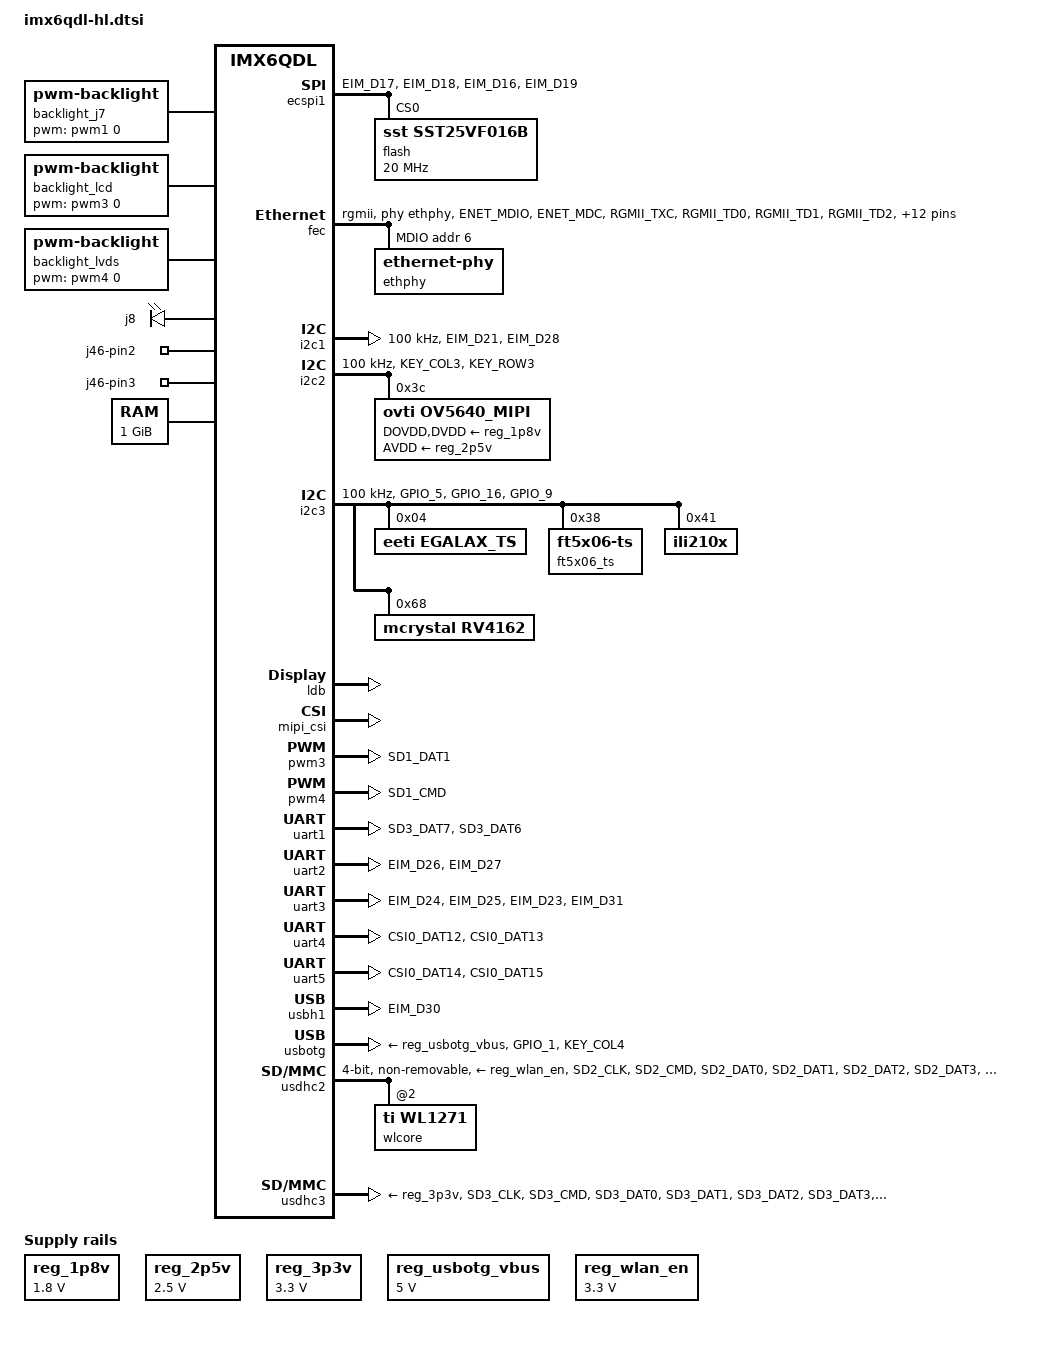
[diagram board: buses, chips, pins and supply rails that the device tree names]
/*
 * Copyright 2014 Boundary Devices
 * Copyright 2012 Freescale Semiconductor, Inc.
 * Copyright 2011 Linaro Ltd.
 *
 * The code contained herein is licensed under the GNU General Public
 * License. You may obtain a copy of the GNU General Public License
 * Version 2 or later at the following locations:
 *
 * http://www.opensource.org/licenses/gpl-license.html
 * http://www.gnu.org/copyleft/gpl.html
 */
#include <dt-bindings/gpio/gpio.h>
#include <dt-bindings/input/input.h>

&iomuxc {
	pinctrl-names = "default";
	pinctrl-0 = <&pinctrl_hog>;

	iomuxc_imx6q_hl: iomuxc-imx6q-hlgrp {
		status = "okay";
	};
};

&iomuxc_imx6q_hl {
	pinctrl_bt_rfkill: bt-rfkillgrp {
		fsl,pins = <
#define GP_BT_RFKILL_RESET	<&gpio6 16 GPIO_ACTIVE_LOW>
			MX6QDL_PAD_NANDF_CS3__GPIO6_IO16	0x030b0
		>;
	};

	pinctrl_ecspi1: ecspi1grp {
		fsl,pins = <
			MX6QDL_PAD_EIM_D17__ECSPI1_MISO		0x100b1
			MX6QDL_PAD_EIM_D18__ECSPI1_MOSI		0x100b1
			MX6QDL_PAD_EIM_D16__ECSPI1_SCLK		0x000b1
#define GP_ECSPI1_NOR_CS	<&gpio3 19 GPIO_ACTIVE_LOW>
			MX6QDL_PAD_EIM_D19__GPIO3_IO19		0x0b0b1
		>;
	};

	pinctrl_enet: enetgrp {
		fsl,pins = <
			MX6QDL_PAD_ENET_MDIO__ENET_MDIO		0x1b0b0
			MX6QDL_PAD_ENET_MDC__ENET_MDC		0x1b0b0
			MX6QDL_PAD_RGMII_TXC__RGMII_TXC		0x100b0
			MX6QDL_PAD_RGMII_TD0__RGMII_TD0		0x100b0
			MX6QDL_PAD_RGMII_TD1__RGMII_TD1		0x100b0
			MX6QDL_PAD_RGMII_TD2__RGMII_TD2		0x100b0
			MX6QDL_PAD_RGMII_TD3__RGMII_TD3		0x100b0
			MX6QDL_PAD_RGMII_TX_CTL__RGMII_TX_CTL	0x100b0
			MX6QDL_PAD_ENET_REF_CLK__ENET_TX_CLK	0x100b0
			MX6QDL_PAD_RGMII_RXC__RGMII_RXC		0x1b0b0
			MX6QDL_PAD_RGMII_RD0__RGMII_RD0		0x130b0
			MX6QDL_PAD_RGMII_RD1__RGMII_RD1		0x1b0b0
			MX6QDL_PAD_RGMII_RD2__RGMII_RD2		0x130b0
			MX6QDL_PAD_RGMII_RD3__RGMII_RD3		0x1b0b0
			MX6QDL_PAD_RGMII_RX_CTL__RGMII_RX_CTL	0x130b0
#define GP_ENET_PHY_RESET		<&gpio1 27 GPIO_ACTIVE_LOW>
			MX6QDL_PAD_ENET_RXD0__GPIO1_IO27	0x030b0
#define GPIRQ_ENET_PHY			<&gpio1 28 IRQ_TYPE_LEVEL_LOW>
			MX6QDL_PAD_ENET_TX_EN__GPIO1_IO28	0x1b0b0
#define GPIRQ_ENET			<&gpio1 6 IRQ_TYPE_LEVEL_HIGH>
			MX6QDL_PAD_GPIO_6__ENET_IRQ		0x000b1
		>;
	};

	pinctrl_hog: hoggrp {
		fsl,pins = <
				/* GPIO - J4 outputs are inverted */
#define GP_J4_PIN1			<&gpio3 4 GPIO_ACTIVE_HIGH>
			MX6QDL_PAD_EIM_DA4__GPIO3_IO04		0x130b0
#define GP_J4_PIN2			<&gpio3 5 GPIO_ACTIVE_HIGH>
			MX6QDL_PAD_EIM_DA5__GPIO3_IO05		0x130b0
#define GP_J4_PIN3			<&gpio3 6 GPIO_ACTIVE_HIGH>
			MX6QDL_PAD_EIM_DA6__GPIO3_IO06		0x130b0
#define GP_J4_PIN4			<&gpio3 7 GPIO_ACTIVE_HIGH>
			MX6QDL_PAD_EIM_DA7__GPIO3_IO07		0x130b0
#define GP_J4_PIN5			<&gpio3 8 GPIO_ACTIVE_HIGH>
			MX6QDL_PAD_EIM_DA8__GPIO3_IO08		0x130b0
#define GP_J4_PIN6			<&gpio3 9 GPIO_ACTIVE_HIGH>
			MX6QDL_PAD_EIM_DA9__GPIO3_IO09		0x130b0

#define GP_J2_PIN1			<&gpio3 10 GPIO_ACTIVE_HIGH>
			MX6QDL_PAD_EIM_DA10__GPIO3_IO10		0x130b0
#define GP_J2_PIN2			<&gpio3 11 GPIO_ACTIVE_HIGH>
			MX6QDL_PAD_EIM_DA11__GPIO3_IO11		0x130b0
#define GP_J2_PIN3			<&gpio3 12 GPIO_ACTIVE_HIGH>
			MX6QDL_PAD_EIM_DA12__GPIO3_IO12		0x130b0
#define GP_J2_PIN4			<&gpio3 13 GPIO_ACTIVE_HIGH>
			MX6QDL_PAD_EIM_DA13__GPIO3_IO13		0x130b0
#define GP_J2_PIN5			<&gpio3 14 GPIO_ACTIVE_HIGH>
			MX6QDL_PAD_EIM_DA14__GPIO3_IO14		0x130b0
#define GP_J2_PIN6			<&gpio3 15 GPIO_ACTIVE_HIGH>
			MX6QDL_PAD_EIM_DA15__GPIO3_IO15		0x130b0

#define GP_TP71				<&gpio4 6 GPIO_ACTIVE_HIGH>
			MX6QDL_PAD_KEY_COL0__GPIO4_IO06		0x130b0
#define GP_TP72				<&gpio4 7 GPIO_ACTIVE_HIGH>
			MX6QDL_PAD_KEY_ROW0__GPIO4_IO07		0x130b0
#define GP_TP73				<&gpio4 8 GPIO_ACTIVE_HIGH>
			MX6QDL_PAD_KEY_COL1__GPIO4_IO08		0x130b0
#define GP_TP74				<&gpio4 9 GPIO_ACTIVE_HIGH>
			MX6QDL_PAD_KEY_ROW1__GPIO4_IO09		0x130b0
#define GP_TP75				<&gpio1 4 GPIO_ACTIVE_HIGH>
			MX6QDL_PAD_GPIO_4__GPIO1_IO04		0x130b0
#define GP_TP_SD3_WP			<&gpio7 1 GPIO_ACTIVE_HIGH>
			MX6QDL_PAD_SD3_DAT4__GPIO7_IO01	0x130b0
		>;
	};

	pinctrl_i2c1: i2c1grp {
		fsl,pins = <
			MX6QDL_PAD_EIM_D21__I2C1_SCL		0x4001b8b1
			MX6QDL_PAD_EIM_D28__I2C1_SDA		0x4001b8b1
		>;
	};

	pinctrl_i2c1_1: i2c1_1grp {
		fsl,pins = <
#define GP_I2C1_SCL	<&gpio3 21 GPIO_ACTIVE_HIGH>
			MX6QDL_PAD_EIM_D21__GPIO3_IO21		0x4001b8b1
#define GP_I2C1_SDA	<&gpio3 28 GPIO_ACTIVE_HIGH>
			MX6QDL_PAD_EIM_D28__GPIO3_IO28		0x4001b8b1
		>;
	};

	pinctrl_i2c2: i2c2grp {
		fsl,pins = <
			MX6QDL_PAD_KEY_COL3__I2C2_SCL		0x4001b8b1
			MX6QDL_PAD_KEY_ROW3__I2C2_SDA		0x4001b8b1
		>;
	};

	pinctrl_i2c2_1: i2c2_1grp {
		fsl,pins = <
#define GP_I2C2_SCL	<&gpio4 12 GPIO_ACTIVE_HIGH>
			MX6QDL_PAD_KEY_COL3__GPIO4_IO12		0x4001b8b1
#define GP_I2C2_SDA	<&gpio4 13 GPIO_ACTIVE_HIGH>
			MX6QDL_PAD_KEY_ROW3__GPIO4_IO13		0x4001b8b1
		>;
	};

	pinctrl_i2c2_ov5640_mipi: i2c2-ov5640-mipigrp {
		fsl,pins = <
#define GP_OV5640_MIPI_POWER_DOWN	<&gpio6 7 GPIO_ACTIVE_HIGH>
			MX6QDL_PAD_NANDF_CLE__GPIO6_IO07	0x0b0b0
#define GP_OV5640_MIPI_RESET		<&gpio6 8 GPIO_ACTIVE_LOW>
			MX6QDL_PAD_NANDF_ALE__GPIO6_IO08	0x030b0
			MX6QDL_PAD_NANDF_CS2__CCM_CLKO2		0x000b0		/* mclk */
		>;
	};

	pinctrl_i2c3: i2c3grp {
		fsl,pins = <
			MX6QDL_PAD_GPIO_5__I2C3_SCL		0x4001b8b1
			MX6QDL_PAD_GPIO_16__I2C3_SDA		0x4001b8b1
#define GPIRQ_I2C3_J7			<&gpio1 9 IRQ_TYPE_LEVEL_LOW>
#define GP_I2C3_J7			<&gpio1 9 GPIO_ACTIVE_LOW>
			MX6QDL_PAD_GPIO_9__GPIO1_IO09		0x1b0b0		/* J7 pin 4 - I2C3 */
		>;
	};

	pinctrl_i2c3_1: i2c3_1grp {
		fsl,pins = <
#define GP_I2C3_SCL	<&gpio1 5 GPIO_ACTIVE_HIGH>
			MX6QDL_PAD_GPIO_5__GPIO1_IO05		0x4001b8b1
#define GP_I2C3_SDA	<&gpio7 11 GPIO_ACTIVE_HIGH>
			MX6QDL_PAD_GPIO_16__GPIO7_IO11		0x4001b8b1
		>;
	};

	pinctrl_i2c3_rv4162: i2c3-rv4162grp {
		fsl,pins = <
#define GPIRQ_RTC_RV4162	<&gpio2 26 IRQ_TYPE_LEVEL_LOW>
			MX6QDL_PAD_EIM_RW__GPIO2_IO26		0x1b0b0
		>;
	};

	pinctrl_ipu1_di0: ipu1_di0grp {
		fsl,pins = <
			MX6QDL_PAD_DI0_DISP_CLK__IPU1_DI0_DISP_CLK 0x10
			MX6QDL_PAD_DI0_PIN15__IPU1_DI0_PIN15       0x10		/* DRDY */
			MX6QDL_PAD_DI0_PIN2__IPU1_DI0_PIN02        0x10		/* HSYNC */
			MX6QDL_PAD_DI0_PIN3__IPU1_DI0_PIN03        0x10		/* VSYNC */
			MX6QDL_PAD_DISP0_DAT0__IPU1_DISP0_DATA00   0x10
			MX6QDL_PAD_DISP0_DAT1__IPU1_DISP0_DATA01   0x10
			MX6QDL_PAD_DISP0_DAT2__IPU1_DISP0_DATA02   0x10
			MX6QDL_PAD_DISP0_DAT3__IPU1_DISP0_DATA03   0x10
			MX6QDL_PAD_DISP0_DAT4__IPU1_DISP0_DATA04   0x10
			MX6QDL_PAD_DISP0_DAT5__IPU1_DISP0_DATA05   0x10
			MX6QDL_PAD_DISP0_DAT6__IPU1_DISP0_DATA06   0x10
			MX6QDL_PAD_DISP0_DAT7__IPU1_DISP0_DATA07   0x10
			MX6QDL_PAD_DISP0_DAT8__IPU1_DISP0_DATA08   0x10
			MX6QDL_PAD_DISP0_DAT9__IPU1_DISP0_DATA09   0x10
			MX6QDL_PAD_DISP0_DAT10__IPU1_DISP0_DATA10  0x10
			MX6QDL_PAD_DISP0_DAT11__IPU1_DISP0_DATA11  0x10
			MX6QDL_PAD_DISP0_DAT12__IPU1_DISP0_DATA12  0x10
			MX6QDL_PAD_DISP0_DAT13__IPU1_DISP0_DATA13  0x10
			MX6QDL_PAD_DISP0_DAT14__IPU1_DISP0_DATA14  0x10
			MX6QDL_PAD_DISP0_DAT15__IPU1_DISP0_DATA15  0x10
			MX6QDL_PAD_DISP0_DAT16__IPU1_DISP0_DATA16  0x10
			MX6QDL_PAD_DISP0_DAT17__IPU1_DISP0_DATA17  0x10
			MX6QDL_PAD_DISP0_DAT18__IPU1_DISP0_DATA18  0x10
			MX6QDL_PAD_DISP0_DAT19__IPU1_DISP0_DATA19  0x10
			MX6QDL_PAD_DISP0_DAT20__IPU1_DISP0_DATA20  0x10
			MX6QDL_PAD_DISP0_DAT21__IPU1_DISP0_DATA21  0x10
			MX6QDL_PAD_DISP0_DAT22__IPU1_DISP0_DATA22  0x10
			MX6QDL_PAD_DISP0_DAT23__IPU1_DISP0_DATA23  0x10
		>;
	};

	pinctrl_ipu1_lvds: ipu1_lvdsgrp {
		fsl,pins = <
#define GP_LVDS_J6_PIN19	<&gpio7 12 GPIO_ACTIVE_HIGH>
			MX6QDL_PAD_GPIO_17__GPIO7_IO12		0x1b0b0
		>;
	};

	pinctrl_leds: ledsgrp {
		fsl,pins = <
#define GP_J8_POWER_ON			<&gpio3 29 GPIO_ACTIVE_LOW>
			MX6QDL_PAD_EIM_D29__GPIO3_IO29		0x030b0		/* J8 pin 8/9(dry contact) */
#define GP_J46_PIN2_I			<&gpio1 7 GPIO_ACTIVE_LOW>
			MX6QDL_PAD_GPIO_7__GPIO1_IO07		0x0b0b0		/* J46 pin 2 - gp(inverted) */
#define GP_J46_PIN3_I			<&gpio1 8 GPIO_ACTIVE_LOW>
			MX6QDL_PAD_GPIO_8__GPIO1_IO08		0x0b0b0		/* J46 pin 3 - gp(inverted) */
		>;
	};

	/* PWM1 - J7 - touchscreen connector */
	pinctrl_pwm1: pwm1grp {
		fsl,pins = <
			MX6QDL_PAD_SD1_DAT3__PWM1_OUT		0x1b0b1
		>;
	};

	/* PWM3 - Backlight on RGB connector: J15 */
	pinctrl_pwm3: pwm3grp {
		fsl,pins = <
			MX6QDL_PAD_SD1_DAT1__PWM3_OUT		0x1b0b1
		>;
	};

	/* PWM4 on LVDS connector: J6 */
	pinctrl_pwm4: pwm4grp {
		fsl,pins = <
			MX6QDL_PAD_SD1_CMD__PWM4_OUT		0x1b0b1
		>;
	};

	pinctrl_reg_usbotg_vbus: reg-usbotg-vbusgrp {
		fsl,pins = <
#define GP_REG_USBOTG	<&gpio3 22 GPIO_ACTIVE_HIGH>
			MX6QDL_PAD_EIM_D22__GPIO3_IO22		0x030b0
		>;
	};

	pinctrl_reg_wlan_en: reg-wlan-engrp {
		fsl,pins = <
#define GP_REG_WLAN_EN	<&gpio6 14 GPIO_ACTIVE_HIGH>
			MX6QDL_PAD_NANDF_CS1__GPIO6_IO14	0x030b0
		>;
	};

	pinctrl_uart1: uart1grp {
		fsl,pins = <
			MX6QDL_PAD_SD3_DAT7__UART1_TX_DATA	0x1b0b1
			MX6QDL_PAD_SD3_DAT6__UART1_RX_DATA	0x1b0b1
		>;
	};

	pinctrl_uart2: uart2grp {
		fsl,pins = <
			MX6QDL_PAD_EIM_D26__UART2_TX_DATA	0x1b0b1
			MX6QDL_PAD_EIM_D27__UART2_RX_DATA	0x1b0b1
		>;
	};

	pinctrl_uart3: uart3grp {
		fsl,pins = <
			MX6QDL_PAD_EIM_D24__UART3_TX_DATA	0x1b0b1
			MX6QDL_PAD_EIM_D25__UART3_RX_DATA	0x1b0b1
			MX6QDL_PAD_EIM_D23__UART3_CTS_B		0x1b0b1
			MX6QDL_PAD_EIM_D31__UART3_RTS_B		0x1b0b1
		>;
	};

	pinctrl_uart4: uart4grp {
		fsl,pins = <
			MX6QDL_PAD_CSI0_DAT12__UART4_TX_DATA	0x1b0b1
			MX6QDL_PAD_CSI0_DAT13__UART4_RX_DATA	0x1b0b1
		>;
	};

	pinctrl_uart5: uart5grp {
		fsl,pins = <
			MX6QDL_PAD_CSI0_DAT14__UART5_TX_DATA	0x1b0b1
			MX6QDL_PAD_CSI0_DAT15__UART5_RX_DATA	0x1b0b1
		>;
	};

	pinctrl_usbh1: usbh1grp {
		fsl,pins = <
			MX6QDL_PAD_EIM_D30__USB_H1_OC		0x1b0b0
		>;
	};

	pinctrl_usbotg: usbotggrp {
		fsl,pins = <
			MX6QDL_PAD_GPIO_1__USB_OTG_ID		0x17059
			MX6QDL_PAD_KEY_COL4__USB_OTG_OC		0x1b0b0
		>;
	};

	pinctrl_usdhc2_50mhz: usdhc2_50mhzgrp {
		fsl,pins = <
			MX6QDL_PAD_SD2_CLK__SD2_CLK		0x10071
			MX6QDL_PAD_SD2_CMD__SD2_CMD		0x17071
			MX6QDL_PAD_SD2_DAT0__SD2_DATA0		0x17071
			MX6QDL_PAD_SD2_DAT1__SD2_DATA1		0x17071
			MX6QDL_PAD_SD2_DAT2__SD2_DATA2		0x17071
			MX6QDL_PAD_SD2_DAT3__SD2_DATA3		0x17071
			MX6QDL_PAD_SD1_CLK__OSC32K_32K_OUT	0x000b0
#define GPIRQ_WL1271	<&gpio6 11 IRQ_TYPE_LEVEL_HIGH>
			MX6QDL_PAD_NANDF_CS0__GPIO6_IO11	0x100b0
		>;
	};

	pinctrl_usdhc2_100mhz: usdhc2grp-100mhz {
		fsl,pins = <
			MX6QDL_PAD_SD2_CMD__SD2_CMD		0x170B9
			MX6QDL_PAD_SD2_CLK__SD2_CLK		0x100B9
			MX6QDL_PAD_SD2_DAT0__SD2_DATA0		0x170B9
			MX6QDL_PAD_SD2_DAT1__SD2_DATA1 		0x170B9
			MX6QDL_PAD_SD2_DAT2__SD2_DATA2 		0x170B9
			MX6QDL_PAD_SD2_DAT3__SD2_DATA3 		0x170B9
		>;
	};

	pinctrl_usdhc2_200mhz: usdhc2grp-200mhz {
		fsl,pins = <
			MX6QDL_PAD_SD2_CMD__SD2_CMD		0x170F9
			MX6QDL_PAD_SD2_CLK__SD2_CLK 		0x100F9
			MX6QDL_PAD_SD2_DAT0__SD2_DATA0		0x170F9
			MX6QDL_PAD_SD2_DAT1__SD2_DATA1 		0x170F9
			MX6QDL_PAD_SD2_DAT2__SD2_DATA2 		0x170F9
			MX6QDL_PAD_SD2_DAT3__SD2_DATA3 		0x170F9
		>;
	};

	/* USDHC3 - micro sd */
	pinctrl_usdhc3_50mhz: usdhc3_50mhzgrp {
		fsl,pins = <
			MX6QDL_PAD_SD3_CLK__SD3_CLK		0x10059
			MX6QDL_PAD_SD3_CMD__SD3_CMD		0x17059
			MX6QDL_PAD_SD3_DAT0__SD3_DATA0		0x17059
			MX6QDL_PAD_SD3_DAT1__SD3_DATA1		0x17059
			MX6QDL_PAD_SD3_DAT2__SD3_DATA2		0x17059
			MX6QDL_PAD_SD3_DAT3__SD3_DATA3		0x17059
#define GP_USDHC3_CD			<&gpio7 0 GPIO_ACTIVE_LOW>
			MX6QDL_PAD_SD3_DAT5__GPIO7_IO00		0x1b0b0
		>;
	};

};

/ {
	aliases {
		backlight_lcd = &backlight_lcd;
		backlight_lvds = &backlight_lvds;
		fb_lcd = &fb_lcd;
		fb_lvds = &fb_lvds;
		lcd = &lcd;
		ldb = &ldb;
		mmc0 = &usdhc3;
		mmc1 = &usdhc2;
		mxcfb0 = &fb_lvds;
		mxcfb1 = &fb_lcd;
		pwm_lcd = &pwm3;
		pwm_lvds = &pwm4;
		t_lvds = &t_lvds;
	};

	backlight_j7 {
		brightness-levels = <0 1 2 3 4 5 6 7 8 9 10>;
		compatible = "pwm-backlight";
		default-brightness-level = <8>;
		pwms = <&pwm1 0 100000>;
	};

	backlight_lcd: backlight_lcd {
		brightness-levels = <0 70 75 80 83 85 87 90 93 97 100>;
		compatible = "pwm-backlight";
		default-brightness-level = <8>;
		display = <&fb_lcd>;
		pwms = <&pwm3 0 500000>;
	};

	backlight_lvds: backlight_lvds {
		brightness-levels = <0 1 2 3 4 5 6 7 8 9 10>;
		compatible = "pwm-backlight";
		default-brightness-level = <8>;
		display = <&fb_lvds>;
		pwms = <&pwm4 0 5000000>;
	};

	bt_rfkill {
		compatible = "net,rfkill-gpio";
		pinctrl-names = "default";
		pinctrl-0 = <&pinctrl_bt_rfkill>;
		name = "bt_rfkill";
		type = <2>;	/* bluetooth */
		reset-gpios = GP_BT_RFKILL_RESET;
	};

	fb_lvds: fb@0 {
		compatible = "fsl,mxc_sdc_fb";
		disp_dev = "ldb";
		interface_pix_fmt = "RGB666";
		default_bpp = <16>;
		int_clk = <0>;
		late_init = <0>;
		status = "disabled";
	};

	fb_lcd: fb@1 {
		compatible = "fsl,mxc_sdc_fb";
		disp_dev = "lcd";
		interface_pix_fmt = "RGB24";
		mode_str = "okaya_480x272";
		default_bpp = <16>;
		int_clk = <0>;
		late_init = <0>;
		status = "disabled";
	};

	lcd: lcd@0 {
		compatible = "fsl,lcd";
		ipu_id = <0>;
		disp_id = <0>;
		default_ifmt = "RGB24";
		pinctrl-names = "default";
		pinctrl-0 = <&pinctrl_ipu1_di0>;
		status = "okay";
	};

	leds {
		compatible = "gpio-leds";
		pinctrl-names = "default";
		pinctrl-0 = <&pinctrl_leds>;
		j8 {
			gpios = GP_J8_POWER_ON;
			retain-state-suspended;
			default-state = "off";
		};

		j46-pin2 {
			gpios = GP_J46_PIN2_I;
			retain-state-suspended;
			default-state = "off";
		};

		j46-pin3 {
			gpios = GP_J46_PIN3_I;
			retain-state-suspended;
			default-state = "off";
		};
	};

	memory {
		reg = <0x10000000 0x40000000>;
	};

	regulators {
		compatible = "simple-bus";
		#address-cells = <1>;
		#size-cells = <0>;

		reg_1p8v: regulator@0 {
			compatible = "regulator-fixed";
			reg = <0>;
			regulator-name = "1P8V";
			regulator-min-microvolt = <1800000>;
			regulator-max-microvolt = <1800000>;
			regulator-always-on;
		};

		reg_2p5v: regulator@1 {
			compatible = "regulator-fixed";
			reg = <1>;
			regulator-name = "2P5V";
			regulator-min-microvolt = <2500000>;
			regulator-max-microvolt = <2500000>;
			regulator-always-on;
		};

		reg_3p3v: regulator@2 {
			compatible = "regulator-fixed";
			reg = <2>;
			regulator-name = "3P3V";
			regulator-min-microvolt = <3300000>;
			regulator-max-microvolt = <3300000>;
			regulator-always-on;
		};

		reg_usbotg_vbus: regulator@3 {
			compatible = "regulator-fixed";
			reg = <3>;
			pinctrl-names = "default";
			pinctrl-0 = <&pinctrl_reg_usbotg_vbus>;
			regulator-name = "usbotg_vbus";
			regulator-min-microvolt = <5000000>;
			regulator-max-microvolt = <5000000>;
			gpio = GP_REG_USBOTG;
			enable-active-high;
		};

		reg_wlan_en: regulator@4 {
			compatible = "regulator-fixed";
			reg = <4>;
			pinctrl-names = "default";
			pinctrl-0 = <&pinctrl_reg_wlan_en>;
			regulator-name = "wlan-en";
			regulator-min-microvolt = <3300000>;
			regulator-max-microvolt = <3300000>;
			gpio = GP_REG_WLAN_EN;
			startup-delay-us = <70000>;
			enable-active-high;
		};
	};

	v4l2_cap_0: v4l2_cap_0 {
		compatible = "fsl,imx6q-v4l2-capture";
		ipu_id = <0>;
		csi_id = <0>;
		mipi_camera = <1>;
		mclk_source = <0>;
		status = "okay";
	};

	v4l2_out {
		compatible = "fsl,mxc_v4l2_output";
		status = "okay";
	};
};

&ecspi1 {
	fsl,spi-num-chipselects = <1>;
	cs-gpios = GP_ECSPI1_NOR_CS;
	pinctrl-names = "default";
	pinctrl-0 = <&pinctrl_ecspi1>;
	status = "okay";

	flash: m25p80@0 {
		compatible = "sst,sst25vf016b";
		spi-max-frequency = <20000000>;
		reg = <0>;
		#address-cells = <1>;
		#size-cells = <1>;
		mtd@00000000 {
			label = "U-Boot";
			reg = <0x0 0xC0000>;
		};

		mtd@000C0000 {
			label = "env";
			reg = <0xC0000 0x2000>;
		};
		mtd@000C2000 {
			label = "splash";
			reg = <0xC2000 0x13e000>;
		};
	};
};

&fec {
	interrupts-extended = GPIRQ_ENET,
			      <&gpc 0 119 IRQ_TYPE_LEVEL_HIGH>;
	phy-handle = <&ethphy>;
	phy-mode = "rgmii";
#if 0
	phy-reset-gpios = GP_ENET_PHY_RESET;
#endif
	pinctrl-names = "default";
	pinctrl-0 = <&pinctrl_enet>;
	status = "okay";

	mdio {
		#address-cells = <0>;
		#size-cells = <1>;

		ethphy: ethernet-phy@6 {
			reg = <6>;
			interrupts-extended = GPIRQ_ENET_PHY;
		};
	};
};

&i2c1 {
	clock-frequency = <100000>;
	pinctrl-names = "default", "gpio";
	pinctrl-0 = <&pinctrl_i2c1>;
	pinctrl-1 = <&pinctrl_i2c1_1>;
	scl-gpios = GP_I2C1_SCL;
	sda-gpios = GP_I2C1_SDA;
	status = "okay";
};

&i2c2 {
	clock-frequency = <100000>;
	pinctrl-names = "default", "gpio";
	pinctrl-0 = <&pinctrl_i2c2>;
	pinctrl-1 = <&pinctrl_i2c2_1>;
	scl-gpios = GP_I2C2_SCL;
	sda-gpios = GP_I2C2_SDA;
	status = "okay";

	ov5640_mipi: ov5640_mipi@3c {
		compatible = "ovti,ov5640_mipi";
		reg = <0x3c>;
		pinctrl-names = "default";
		pinctrl-0 = <&pinctrl_i2c2_ov5640_mipi>;
		clocks = <&clks IMX6QDL_CLK_CKO2>;
		clock-names = "csi_mclk";
		DOVDD-supply = <&reg_1p8v>;
		AVDD-supply = <&reg_2p5v>;
		DVDD-supply = <&reg_1p8v>;
		pwn-gpios = GP_OV5640_MIPI_POWER_DOWN;
		rst-gpios = GP_OV5640_MIPI_RESET;
		ipu_id = <0>;
		csi_id = <0>;
		mclk = <22000000>;
		mclk_source = <0>;
	};
};

&i2c3 {
	clock-frequency = <100000>;
	pinctrl-names = "default", "gpio";
	pinctrl-0 = <&pinctrl_i2c3>;
	pinctrl-1 = <&pinctrl_i2c3_1>;
	scl-gpios = GP_I2C3_SCL;
	sda-gpios = GP_I2C3_SDA;
	status = "okay";

	egalax_ts@04 {
		compatible = "eeti,egalax_ts";
		reg = <0x04>;
		interrupts-extended = GPIRQ_I2C3_J7;
		wakeup-gpios = GP_I2C3_J7;
	};

	ft5x06_ts@38 {
		compatible = "ft5x06-ts";
		reg = <0x38>;
		interrupts-extended = GPIRQ_I2C3_J7;
		wakeup-gpios = GP_I2C3_J7;
	};

	ili210x@41 {
		compatible = "ili210x";
		reg = <0x41>;
		interrupts-extended = GPIRQ_I2C3_J7;
		wakeup-gpios = GP_I2C3_J7;
	};

	rv4162@68 {
		compatible = "mcrystal,rv4162";
		pinctrl-names = "default";
		pinctrl-0 = <&pinctrl_i2c3_rv4162>;
		reg = <0x68>;
		interrupts-extended = GPIRQ_RTC_RV4162;
	};
};

&ldb {
	status = "okay";

	lvds-channel@0 {
		crtc = "ipu1-di1";
		fsl,data-mapping = "spwg";
		fsl,data-width = <18>;
		status = "okay";
		primary;

		display-timings {
			t_lvds: t_lvds_default {
				/* hannstar7 values may be changed in bootscript */
				clock-frequency = <71108582>;
				hactive = <1280>;
				vactive = <800>;
				hback-porch = <80>;
				hfront-porch = <48>;
				vback-porch = <15>;
				vfront-porch = <2>;
				hsync-len = <32>;
				vsync-len = <6>;
			};
		};
	};
};

&mipi_csi {
	lanes = <2>;
	status = "okay";
};

/* I2c3(J7) pwm */
&pwm1 {
	pinctrl-names = "default";
	pinctrl-0 = <&pinctrl_pwm1>;
	status = "disabled";
};

/* LCD(J33) backlight */
&pwm3 {
	pinctrl-names = "default";
	pinctrl-0 = <&pinctrl_pwm3>;
	status = "okay";
};

/* LVDS(J6) backlight */
&pwm4 {
	pinctrl-names = "default";
	pinctrl-0 = <&pinctrl_pwm4>;
	status = "okay";
};

&uart1 {
	pinctrl-names = "default";
	pinctrl-0 = <&pinctrl_uart1>;
	status = "okay";
};

&uart2 {
	pinctrl-names = "default";
	pinctrl-0 = <&pinctrl_uart2>;
	status = "okay";
};

&uart3 {
	pinctrl-names = "default";
	pinctrl-0 = <&pinctrl_uart3>;
	fsl,uart-has-rtscts;
	status = "okay";
};

&uart4 {
	pinctrl-names = "default";
	pinctrl-0 = <&pinctrl_uart4>;
	status = "okay";
};

&uart5 {
	pinctrl-names = "default";
	pinctrl-0 = <&pinctrl_uart5>;
	status = "okay";
};

&usbh1 {
	pinctrl-names = "default";
	pinctrl-0 = <&pinctrl_usbh1>;
	disable-over-current;
	status = "okay";
};

&usbotg {
	vbus-supply = <&reg_usbotg_vbus>;
	pinctrl-names = "default";
	pinctrl-0 = <&pinctrl_usbotg>;
	disable-over-current;
	status = "okay";
};

&usdhc2 {	/* uSDHC2, TiWi wl1271 */
	pinctrl-names = "default", "state_100mhz", "state_200mhz";
	pinctrl-0 = <&pinctrl_usdhc2_50mhz>;
	pinctrl-1 = <&pinctrl_usdhc2_100mhz>;
	pinctrl-2 = <&pinctrl_usdhc2_200mhz>;
	pinctrl-names = "default";
	bus-width = <4>;
	non-removable;
	vmmc-supply = <&reg_wlan_en>;
	vqmmc-1-8-v;
	cap-power-off-card;
	keep-power-in-suspend;
	status = "okay";

	#address-cells = <1>;
	#size-cells = <0>;
	wlcore: wlcore@2 {
		compatible = "ti,wl1271";
		interrupts-extended = GPIRQ_WL1271;
		reg = <2>;
		ref-clock-frequency = <38400000>;
	};
};

&usdhc3 {
	pinctrl-names = "default";
	pinctrl-0 = <&pinctrl_usdhc3_50mhz>;
	cd-gpios = GP_USDHC3_CD;
	vmmc-supply = <&reg_3p3v>;
	status = "okay";
};
